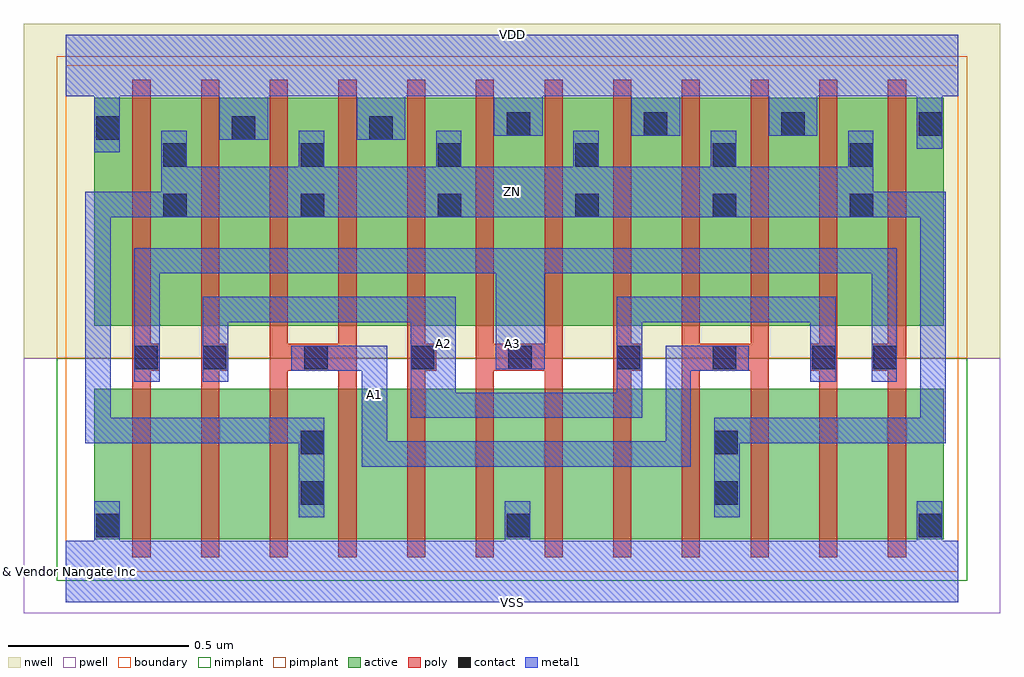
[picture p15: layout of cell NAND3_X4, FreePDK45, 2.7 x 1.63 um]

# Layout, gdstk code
import gdstk
lib = gdstk.Library(unit=1e-6, precision=1e-10)
def R(c, l, rs):  # rectangles x0, y0, x1, y1
    for r in rs: c.add(gdstk.rectangle(r[:2], r[2:], *l))
def A(c, l, x, y, w, h, nx, ny, dx, dy):  # array of equal rectangles
    R(c, l, [(x+i*dx, y+j*dy, x+i*dx+w, y+j*dy+h) for i in range(nx) for j in range(ny)])
def P(c, l, *ps):  # polygons
    for p in ps: c.add(gdstk.Polygon(p, *l))
active = (1, 0)
pwell = (2, 0)
nwell = (3, 0)
nimplant = (4, 0)
pimplant = (5, 0)
poly = (9, 0)
contact = (10, 0)
metal1 = (11, 0)
boundary = (235, 0)

nand3_x4 = lib.new_cell('NAND3_X4')
R(nand3_x4, active, [(0.08,0.09,2.43,0.505), (0.08,0.68,2.43,1.31)])
R(nand3_x4, pwell, [(-0.115,-0.115,2.585,0.59)])
R(nand3_x4, nwell, [(-0.115,0.59,2.585,1.515)])
R(nand3_x4, nimplant, [(-0.025,-0.025,2.495,0.59)])
R(nand3_x4, pimplant, [(-0.025,0.59,2.495,1.425)])
P(nand3_x4, poly, [(0.185,0.04),(0.185,1.36),(0.235,1.36),(0.235,0.63),(0.26,0.63),(0.26,0.555),(0.235,0.555),(0.235,0.04)],
  [(0.375,0.04),(0.375,1.36),(0.425,1.36),(0.425,0.63),(0.45,0.63),(0.45,0.555),(0.425,0.555),(0.425,0.04)],
  [(0.565,0.04),(0.565,1.36),(0.615,1.36),(0.615,0.63),(0.755,0.63),(0.755,1.36),(0.805,1.36),(0.805,0.04),(0.755,0.04),(0.755,0.555),(0.615,0.555),(0.615,0.04)],
  [(0.945,0.04),(0.945,1.36),(0.995,1.36),(0.995,0.63),(1.025,0.63),(1.025,0.555),(0.995,0.555),(0.995,0.04)],
  [(1.135,0.04),(1.135,1.36),(1.185,1.36),(1.185,0.63),(1.325,0.63),(1.325,1.36),(1.375,1.36),(1.375,0.04),(1.325,0.04),(1.325,0.555),(1.185,0.555),(1.185,0.04)],
  [(1.515,0.04),(1.515,1.36),(1.565,1.36),(1.565,0.63),(1.595,0.63),(1.595,0.555),(1.565,0.555),(1.565,0.04)],
  [(1.705,0.04),(1.705,1.36),(1.755,1.36),(1.755,0.63),(1.895,0.63),(1.895,1.36),(1.945,1.36),(1.945,0.04),(1.895,0.04),(1.895,0.555),(1.755,0.555),(1.755,0.04)],
  [(2.085,0.04),(2.085,0.555),(2.06,0.555),(2.06,0.63),(2.085,0.63),(2.085,1.36),(2.135,1.36),(2.135,0.04)],
  [(2.275,0.04),(2.275,0.555),(2.23,0.555),(2.23,0.63),(2.275,0.63),(2.275,1.36),(2.325,1.36),(2.325,0.04)])
A(nand3_x4, contact, 0.27, 0.98, 0.065, 0.065, 6, 2, 0.38, 0.14)
A(nand3_x4, contact, 1.22, 1.205, 0.065, 0.065, 4, 1, 0.38, 0)
R(nand3_x4, contact, [(0.085,0.095,0.15,0.16), (1.22,0.095,1.285,0.16), (2.36,0.095,2.425,0.16), (0.65,0.185,0.715,0.25), (1.795,0.185,1.86,0.25), (0.65,0.325,0.715,0.39), (1.795,0.325,1.86,0.39), (0.19,0.56,0.255,0.625), (0.38,0.56,0.445,0.625), (0.66,0.56,0.725,0.625), (0.955,0.56,1.02,0.625), (1.225,0.56,1.29,0.625), (1.525,0.56,1.59,0.625), (1.79,0.56,1.855,0.625), (2.065,0.56,2.13,0.625), (2.235,0.56,2.3,0.625), (0.085,1.195,0.15,1.26), (0.46,1.195,0.525,1.26), (0.84,1.195,0.905,1.26)])
P(nand3_x4, metal1, [(0.82,0.29),(0.82,0.555),(0.625,0.555),(0.625,0.625),(0.89,0.625),(0.89,0.36),(1.66,0.36),(1.66,0.625),(1.89,0.625),(1.89,0.555),(1.73,0.555),(1.73,0.29)],
  [(0.955,0.425),(0.955,0.69),(0.45,0.69),(0.45,0.525),(0.38,0.525),(0.38,0.76),(1.08,0.76),(1.08,0.495),(1.525,0.495),(1.525,0.76),(2.13,0.76),(2.13,0.525),(2.06,0.525),(2.06,0.69),(1.595,0.69),(1.595,0.425)],
  [(0.19,0.525),(0.19,0.895),(2.3,0.895),(2.3,0.525),(2.23,0.525),(2.23,0.825),(1.325,0.825),(1.325,0.56),(1.19,0.56),(1.19,0.825),(0.26,0.825),(0.26,0.525)],
  [(0.645,0.15),(0.645,0.355),(0.055,0.355),(0.055,1.05),(0.265,1.05),(0.265,1.22),(0.335,1.22),(0.335,1.12),(0.645,1.12),(0.645,1.22),(0.715,1.22),(0.715,1.12),(1.025,1.12),(1.025,1.22),(1.095,1.22),(1.095,1.12),(1.405,1.12),(1.405,1.22),(1.475,1.22),(1.475,1.12),(1.785,1.12),(1.785,1.22),(1.855,1.22),(1.855,1.12),(2.165,1.12),(2.165,1.22),(2.235,1.22),(2.235,1.05),(2.435,1.05),(2.435,0.355),(1.865,0.355),(1.865,0.15),(1.795,0.15),(1.795,0.425),(2.365,0.425),(2.365,0.98),(0.125,0.98),(0.125,0.425),(0.715,0.425),(0.715,0.15)],
  [(0,-0.085),(0,0.085),(0.08,0.085),(0.08,0.195),(0.15,0.195),(0.15,0.085),(1.215,0.085),(1.215,0.195),(1.285,0.195),(1.285,0.085),(2.355,0.085),(2.355,0.195),(2.425,0.195),(2.425,0.085),(2.47,0.085),(2.47,-0.085)],
  [(0.08,1.16),(0.08,1.315),(0,1.315),(0,1.485),(2.47,1.485),(2.47,1.315),(2.425,1.315),(2.425,1.17),(2.355,1.17),(2.355,1.315),(2.08,1.315),(2.08,1.205),(1.945,1.205),(1.945,1.315),(1.7,1.315),(1.7,1.205),(1.565,1.205),(1.565,1.315),(1.32,1.315),(1.32,1.205),(1.185,1.205),(1.185,1.315),(0.94,1.315),(0.94,1.195),(0.805,1.195),(0.805,1.315),(0.56,1.315),(0.56,1.195),(0.425,1.195),(0.425,1.315),(0.15,1.315),(0.15,1.16)])
R(nand3_x4, boundary, [(0,0,2.47,1.4)])
nand3_x4.add(gdstk.Label('A1', (0.855,0.49), layer=11, texttype=0))
nand3_x4.add(gdstk.Label('A2', (1.045,0.63), layer=11, texttype=0))
nand3_x4.add(gdstk.Label('A3', (1.235,0.63), layer=11, texttype=0))
nand3_x4.add(gdstk.Label('VDD', (1.235,1.485), layer=11, texttype=0))
nand3_x4.add(gdstk.Label('VSS', (1.235,-0.085), layer=11, texttype=0))
nand3_x4.add(gdstk.Label('ZN', (1.235,1.05), layer=11, texttype=0))
nand3_x4.add(gdstk.Label('& Vendor Nangate Inc', (0,0), layer=63, texttype=63))
nand3_x4.add(gdstk.Label('& Product Open Cell Library', (0,0), layer=63, texttype=63))
nand3_x4.add(gdstk.Label('& Version 2010_12', (0,0), layer=63, texttype=63))
nand3_x4.add(gdstk.Label('& Instance NAND3_X4', (0,0), layer=63, texttype=63))

lib.write_gds('NAND3_X4.gds')
